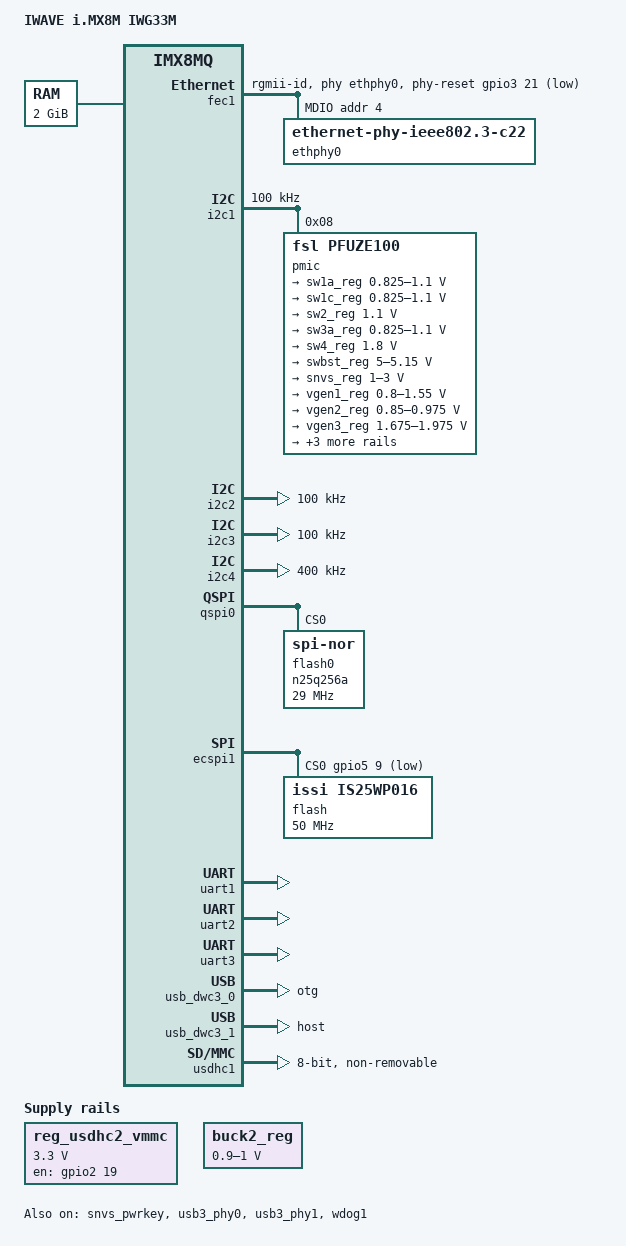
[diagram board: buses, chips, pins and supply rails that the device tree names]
// SPDX-License-Identifier: (GPL-2.0 OR MIT)
/*
 * Copyright 2017 NXP
 * Copyright (C) 2017-2018 Pengutronix, Lucas Stach <kernel@pengutronix.de>
 */

/dts-v1/;

#include "imx8mq.dtsi"

/ {
	model = "IWAVE i.MX8M IWG33M";
	compatible = "fsl,imx8mq-evk", "fsl,imx8mq";
	
	chosen {
		bootargs = "console=ttymxc0,115200 earlycon=ec_imx6q,0x30860000,115200";
		stdout-path = &uart1;
	};

	aliases {
		spi0 = &ecspi1;
	};

	firmware {
		optee {
			compatible = "linaro,optee-tz";
			method = "smc";
		};
	};

	memory@40000000 {
		device_type = "memory";
		reg = <0x00000000 0x40000000 0 0x80000000>;
	};

	reg_usdhc2_vmmc: regulator-vsd-3v3 {
		pinctrl-names = "default";
		pinctrl-0 = <&pinctrl_reg_usdhc2>;
		compatible = "regulator-fixed";
		regulator-name = "VSD_3V3";
		regulator-min-microvolt = <3300000>;
		regulator-max-microvolt = <3300000>;
		gpio = <&gpio2 19 GPIO_ACTIVE_HIGH>;
		off-on-delay-us = <20000>;
		enable-active-high;
	};

	buck2_reg: regulator-buck2 {
		pinctrl-names = "default";
		pinctrl-0 = <&pinctrl_buck2>;
		compatible = "regulator-gpio";
		regulator-name = "vdd_arm";
		regulator-min-microvolt = <900000>;
		regulator-max-microvolt = <1000000>;
		gpios = <&gpio1 13 GPIO_ACTIVE_HIGH>;
		states = <1000000 0x0
			  900000 0x1>;
	};
};

&iomuxc {
	pinctrl-names = "default";
	pinctrl-0 = <&pinctrl_hog>;

	pinctrl_hog: hoggrp {
		fsl,pins = <
			MX8MQ_IOMUXC_SD2_WP_GPIO2_IO20			0x19
			MX8MQ_IOMUXC_NAND_ALE_GPIO3_IO0			0x19
			MX8MQ_IOMUXC_NAND_CE0_B_GPIO3_IO1		0x19
			MX8MQ_IOMUXC_NAND_DATA00_GPIO3_IO6		0x19
			MX8MQ_IOMUXC_NAND_DATA01_GPIO3_IO7		0x19
			MX8MQ_IOMUXC_NAND_DATA02_GPIO3_IO8		0x41
			MX8MQ_IOMUXC_NAND_DATA03_GPIO3_IO9		0x19            
			MX8MQ_IOMUXC_NAND_READY_B_GPIO3_IO16		0x19
			MX8MQ_IOMUXC_NAND_WE_B_GPIO3_IO17		0x19
			MX8MQ_IOMUXC_NAND_WP_B_GPIO3_IO18		0x19
			MX8MQ_IOMUXC_GPIO1_IO00_GPIO1_IO0		0x19
			MX8MQ_IOMUXC_GPIO1_IO01_GPIO1_IO1		0x19
			MX8MQ_IOMUXC_GPIO1_IO11_GPIO1_IO11		0x19
			MX8MQ_IOMUXC_GPIO1_IO12_GPIO1_IO12		0x19
			/*MX8MQ_IOMUXC_SAI5_RXD2_GPIO3_IO23		0x41*/
			MX8MQ_IOMUXC_SAI5_RXD3_GPIO3_IO24		0x19	
		>;
	};

	pinctrl_buck2: vddarmgrp {
		fsl,pins = <
			MX8MQ_IOMUXC_GPIO1_IO13_GPIO1_IO13		0x19
		>;

	};

	pinctrl_fec1: fec1grp {
		fsl,pins = <
			MX8MQ_IOMUXC_ENET_MDC_ENET1_MDC			0x3
			MX8MQ_IOMUXC_ENET_MDIO_ENET1_MDIO		0x23
			MX8MQ_IOMUXC_ENET_TD3_ENET1_RGMII_TD3		0x1f
			MX8MQ_IOMUXC_ENET_TD2_ENET1_RGMII_TD2		0x1f
			MX8MQ_IOMUXC_ENET_TD1_ENET1_RGMII_TD1		0x1f
			MX8MQ_IOMUXC_ENET_TD0_ENET1_RGMII_TD0		0x1f
			MX8MQ_IOMUXC_ENET_RD3_ENET1_RGMII_RD3		0x91
			MX8MQ_IOMUXC_ENET_RD2_ENET1_RGMII_RD2		0x91
			MX8MQ_IOMUXC_ENET_RD1_ENET1_RGMII_RD1		0x91
			MX8MQ_IOMUXC_ENET_RD0_ENET1_RGMII_RD0		0x91
			MX8MQ_IOMUXC_ENET_TXC_ENET1_RGMII_TXC		0x1f
			MX8MQ_IOMUXC_ENET_RXC_ENET1_RGMII_RXC		0x91
			MX8MQ_IOMUXC_ENET_RX_CTL_ENET1_RGMII_RX_CTL	0x91
			MX8MQ_IOMUXC_ENET_TX_CTL_ENET1_RGMII_TX_CTL	0x1f
			MX8MQ_IOMUXC_SAI5_RXD0_GPIO3_IO21		0x19
			MX8MQ_IOMUXC_SAI5_RXD1_GPIO3_IO22		0x19
			MX8MQ_IOMUXC_SAI5_RXC_GPIO3_IO20		0x19
		>;
	};

	pinctrl_i2c1: i2c1grp {
		fsl,pins = <
			MX8MQ_IOMUXC_I2C1_SCL_I2C1_SCL			0x4000007f
			MX8MQ_IOMUXC_I2C1_SDA_I2C1_SDA			0x4000007f
		>;
	};

	pinctrl_i2c3: i2c3grp {
		fsl,pins = <
			MX8MQ_IOMUXC_I2C3_SCL_I2C3_SCL			0x4000007f
			MX8MQ_IOMUXC_I2C3_SDA_I2C3_SDA			0x4000007f
		>;
	};

	pinctrl_i2c2: i2c2grp {
		fsl,pins = <
			MX8MQ_IOMUXC_I2C2_SCL_I2C2_SCL			0x40000067
			MX8MQ_IOMUXC_I2C2_SDA_I2C2_SDA			0x40000067
		>;
	};

	pinctrl_i2c4: i2c4grp {
		fsl,pins = <
			MX8MQ_IOMUXC_I2C4_SCL_I2C4_SCL			0x4000007f
			MX8MQ_IOMUXC_I2C4_SDA_I2C4_SDA			0x4000007f
		>;
	};

	pinctrl_qspi: qspigrp {
		fsl,pins = <
			MX8MQ_IOMUXC_NAND_CLE_QSPI_B_SCLK		0x82
			MX8MQ_IOMUXC_NAND_CE2_B_QSPI_B_SS0_B		0x82
			MX8MQ_IOMUXC_NAND_CE3_B_QSPI_B_SS1_B		0x82
			MX8MQ_IOMUXC_NAND_RE_B_QSPI_B_DQS		0x82
			MX8MQ_IOMUXC_NAND_DATA04_QSPI_B_DATA0		0x82
			MX8MQ_IOMUXC_NAND_DATA05_QSPI_B_DATA1		0x82
			MX8MQ_IOMUXC_NAND_DATA06_QSPI_B_DATA2		0x82
			MX8MQ_IOMUXC_NAND_DATA07_QSPI_B_DATA3		0x82
		>;
	};

	pinctrl_ecspi1: ecspi1grp {
		fsl,pins = <
			MX8MQ_IOMUXC_ECSPI1_SCLK_ECSPI1_SCLK		0x82
			MX8MQ_IOMUXC_ECSPI1_MOSI_ECSPI1_MOSI		0x82
			MX8MQ_IOMUXC_ECSPI1_MISO_ECSPI1_MISO		0x82
			MX8MQ_IOMUXC_ECSPI1_SS0_GPIO5_IO9		0x82
		>;
	};

	pinctrl_reg_usdhc2: regusdhc2grpgpio {
		fsl,pins = <
			MX8MQ_IOMUXC_SD2_RESET_B_GPIO2_IO19		0x41
		>;
	};

	pinctrl_uart1: uart1grp {
		fsl,pins = <
			MX8MQ_IOMUXC_UART1_RXD_UART1_DCE_RX		0x49
			MX8MQ_IOMUXC_UART1_TXD_UART1_DCE_TX		0x49
		>;
	};

	pinctrl_uart2: uart2grp {
		fsl,pins = <
			MX8MQ_IOMUXC_UART2_RXD_UART2_DCE_RX		0x49
			MX8MQ_IOMUXC_UART2_TXD_UART2_DCE_TX		0x49
			MX8MQ_IOMUXC_UART4_RXD_UART2_DCE_CTS_B		0x49
			MX8MQ_IOMUXC_UART4_TXD_UART2_DCE_RTS_B		0x49
		>;
	};

	pinctrl_uart3: uart3grp {
		fsl,pins = <
			MX8MQ_IOMUXC_UART3_TXD_UART3_DCE_TX		0x49
			MX8MQ_IOMUXC_UART3_RXD_UART3_DCE_RX		0x49
		>;
	};

	pinctrl_bt_uart4: bt_uart4grp {
		fsl,pins = <
			MX8MQ_IOMUXC_ECSPI2_MOSI_UART4_DCE_TX		0x49
			MX8MQ_IOMUXC_ECSPI2_SCLK_UART4_DCE_RX		0x49
			MX8MQ_IOMUXC_ECSPI2_MISO_UART4_DCE_CTS_B	0x49
			MX8MQ_IOMUXC_ECSPI2_SS0_UART4_DCE_RTS_B		0x49
			
		>;
	};

	pinctrl_usdhc1: usdhc1grp {
		fsl,pins = <
			MX8MQ_IOMUXC_SD1_CLK_USDHC1_CLK			0x83
			MX8MQ_IOMUXC_SD1_CMD_USDHC1_CMD			0xc3
			MX8MQ_IOMUXC_SD1_DATA0_USDHC1_DATA0		0xc3
			MX8MQ_IOMUXC_SD1_DATA1_USDHC1_DATA1		0xc3
			MX8MQ_IOMUXC_SD1_DATA2_USDHC1_DATA2		0xc3
			MX8MQ_IOMUXC_SD1_DATA3_USDHC1_DATA3		0xc3
			MX8MQ_IOMUXC_SD1_DATA4_USDHC1_DATA4		0xc3
			MX8MQ_IOMUXC_SD1_DATA5_USDHC1_DATA5		0xc3
			MX8MQ_IOMUXC_SD1_DATA6_USDHC1_DATA6		0xc3
			MX8MQ_IOMUXC_SD1_DATA7_USDHC1_DATA7		0xc3
			MX8MQ_IOMUXC_SD1_STROBE_USDHC1_STROBE		0x83
			MX8MQ_IOMUXC_SD1_RESET_B_USDHC1_RESET_B		0xc1
		>;
	};

	pinctrl_usdhc1_100mhz: usdhc1-100grp {
		fsl,pins = <
			MX8MQ_IOMUXC_SD1_CLK_USDHC1_CLK			0x8d
			MX8MQ_IOMUXC_SD1_CMD_USDHC1_CMD			0xcd
			MX8MQ_IOMUXC_SD1_DATA0_USDHC1_DATA0		0xcd
			MX8MQ_IOMUXC_SD1_DATA1_USDHC1_DATA1		0xcd
			MX8MQ_IOMUXC_SD1_DATA2_USDHC1_DATA2		0xcd
			MX8MQ_IOMUXC_SD1_DATA3_USDHC1_DATA3		0xcd
			MX8MQ_IOMUXC_SD1_DATA4_USDHC1_DATA4		0xcd
			MX8MQ_IOMUXC_SD1_DATA5_USDHC1_DATA5		0xcd
			MX8MQ_IOMUXC_SD1_DATA6_USDHC1_DATA6		0xcd
			MX8MQ_IOMUXC_SD1_DATA7_USDHC1_DATA7		0xcd
			MX8MQ_IOMUXC_SD1_STROBE_USDHC1_STROBE		0x8d
			MX8MQ_IOMUXC_SD1_RESET_B_USDHC1_RESET_B		0xc1
		>;
	};

	pinctrl_usdhc1_200mhz: usdhc1-200grp {
		fsl,pins = <
			MX8MQ_IOMUXC_SD1_CLK_USDHC1_CLK			0x9f
			MX8MQ_IOMUXC_SD1_CMD_USDHC1_CMD			0xdf
			MX8MQ_IOMUXC_SD1_DATA0_USDHC1_DATA0		0xdf
			MX8MQ_IOMUXC_SD1_DATA1_USDHC1_DATA1		0xdf
			MX8MQ_IOMUXC_SD1_DATA2_USDHC1_DATA2		0xdf
			MX8MQ_IOMUXC_SD1_DATA3_USDHC1_DATA3		0xdf
			MX8MQ_IOMUXC_SD1_DATA4_USDHC1_DATA4		0xdf
			MX8MQ_IOMUXC_SD1_DATA5_USDHC1_DATA5		0xdf
			MX8MQ_IOMUXC_SD1_DATA6_USDHC1_DATA6		0xdf
			MX8MQ_IOMUXC_SD1_DATA7_USDHC1_DATA7		0xdf
			MX8MQ_IOMUXC_SD1_STROBE_USDHC1_STROBE		0x9f
			MX8MQ_IOMUXC_SD1_RESET_B_USDHC1_RESET_B		0xc1
		>;
	};

	pinctrl_usdhc2: usdhc2grp {
		fsl,pins = <
			MX8MQ_IOMUXC_SD2_CLK_USDHC2_CLK			0x83
			MX8MQ_IOMUXC_SD2_CMD_USDHC2_CMD			0xc3
			MX8MQ_IOMUXC_SD2_DATA0_USDHC2_DATA0		0xc3
			MX8MQ_IOMUXC_SD2_DATA1_USDHC2_DATA1		0xc3
			MX8MQ_IOMUXC_SD2_DATA2_USDHC2_DATA2		0xc3
			MX8MQ_IOMUXC_SD2_DATA3_USDHC2_DATA3		0xc3
			MX8MQ_IOMUXC_SD2_CD_B_GPIO2_IO12		0x41
			MX8MQ_IOMUXC_SAI1_RXD0_GPIO4_IO2		0xc1
		>;
	};

	pinctrl_usdhc2_100mhz: usdhc2-100grp {
		fsl,pins = <
			MX8MQ_IOMUXC_SD2_CLK_USDHC2_CLK			0x85
			MX8MQ_IOMUXC_SD2_CMD_USDHC2_CMD			0xc5
			MX8MQ_IOMUXC_SD2_DATA0_USDHC2_DATA0		0xc5
			MX8MQ_IOMUXC_SD2_DATA1_USDHC2_DATA1		0xc5
			MX8MQ_IOMUXC_SD2_DATA2_USDHC2_DATA2		0xc5
			MX8MQ_IOMUXC_SD2_DATA3_USDHC2_DATA3		0xc5
			MX8MQ_IOMUXC_SD2_CD_B_GPIO2_IO12		0x41
			MX8MQ_IOMUXC_SAI1_RXD0_GPIO4_IO2		0xc1
		>;
	};

	pinctrl_usdhc2_200mhz: usdhc2-200grp {
		fsl,pins = <
			MX8MQ_IOMUXC_SD2_CLK_USDHC2_CLK			0x87
			MX8MQ_IOMUXC_SD2_CMD_USDHC2_CMD			0xc7
			MX8MQ_IOMUXC_SD2_DATA0_USDHC2_DATA0		0xc7
			MX8MQ_IOMUXC_SD2_DATA1_USDHC2_DATA1		0xc7
			MX8MQ_IOMUXC_SD2_DATA2_USDHC2_DATA2		0xc7
			MX8MQ_IOMUXC_SD2_DATA3_USDHC2_DATA3		0xc7
			MX8MQ_IOMUXC_SD2_CD_B_GPIO2_IO12		0x41
			MX8MQ_IOMUXC_SAI1_RXD0_GPIO4_IO2		0xc1
		>;
	};

	pinctrl_wdog: wdog1grp {
		fsl,pins = <
			MX8MQ_IOMUXC_GPIO1_IO02_WDOG1_WDOG_B		0xc6
		>;
	};
};



&A53_0 {
	cpu-supply = <&buck2_reg>;
};

&A53_1 {
	cpu-supply = <&buck2_reg>;
};

&A53_2 {
	cpu-supply = <&buck2_reg>;
};

&A53_3 {
	cpu-supply = <&buck2_reg>;
};

&fec1 {
	pinctrl-names = "default";
	pinctrl-0 = <&pinctrl_fec1>;
	phy-mode = "rgmii-id";
	phy-handle = <&ethphy0>;
	phy-reset-gpios = <&gpio3 21 GPIO_ACTIVE_LOW>;
	phy-reset-duration = <10>;
	fsl,magic-packet;
	fsl,rgmii_txc_dly;
	fsl,rgmii_rxc_dly;
	fsl,ar8031-phy-fixup;
	status = "okay";

	mdio {
		#address-cells = <1>;
		#size-cells = <0>;

		ethphy0: ethernet-phy@4 {
			compatible = "ethernet-phy-ieee802.3-c22";
			reg = <4>;
			at803x,eee-disabled;
			at803x,vddio-1p8v;
		};
	};
};

&i2c1 {
	clock-frequency = <100000>;
	pinctrl-names = "default";
	pinctrl-0 = <&pinctrl_i2c1>;
	status = "okay";

	pmic@8 {
		compatible = "fsl,pfuze100";
		fsl,pfuze-support-disable-sw;
		reg = <0x8>;

		regulators {
			sw1a_reg: sw1ab {
				regulator-min-microvolt = <825000>;
				regulator-max-microvolt = <1100000>;
			};

			sw1c_reg: sw1c {
				regulator-min-microvolt = <825000>;
				regulator-max-microvolt = <1100000>;
			};

			sw2_reg: sw2 {
				regulator-min-microvolt = <1100000>;
				regulator-max-microvolt = <1100000>;
				regulator-always-on;
			};

			sw3a_reg: sw3ab {
				regulator-min-microvolt = <825000>;
				regulator-max-microvolt = <1100000>;
				regulator-always-on;
			};

			sw4_reg: sw4 {
				regulator-min-microvolt = <1800000>;
				regulator-max-microvolt = <1800000>;
				regulator-always-on;
			};

			swbst_reg: swbst {
				regulator-min-microvolt = <5000000>;
				regulator-max-microvolt = <5150000>;
			};

			snvs_reg: vsnvs {
				regulator-min-microvolt = <1000000>;
				regulator-max-microvolt = <3000000>;
				regulator-always-on;
			};

			vref_reg: vrefddr {
				regulator-always-on;
			};

			vgen1_reg: vgen1 {
				regulator-min-microvolt = <800000>;
				regulator-max-microvolt = <1550000>;
			};

			vgen2_reg: vgen2 {
				regulator-min-microvolt = <850000>;
				regulator-max-microvolt = <975000>;
				regulator-always-on;
			};

			vgen3_reg: vgen3 {
				regulator-min-microvolt = <1675000>;
				regulator-max-microvolt = <1975000>;
				regulator-always-on;
			};

			vgen4_reg: vgen4 {
				regulator-min-microvolt = <1625000>;
				regulator-max-microvolt = <1875000>;
				regulator-always-on;
			};

			vgen5_reg: vgen5 {
				regulator-min-microvolt = <3075000>;
				regulator-max-microvolt = <3625000>;
				regulator-always-on;
			};

			vgen6_reg: vgen6 {
				regulator-min-microvolt = <1800000>;
				regulator-max-microvolt = <3300000>;
			};
		};
	};
	
};

&i2c2 {
	clock-frequency = <100000>;
	pinctrl-names = "default";
	pinctrl-0 = <&pinctrl_i2c2>;
	status = "okay";
};

&i2c3 {
	clock-frequency = <100000>;
	pinctrl-names = "default";
	pinctrl-0 = <&pinctrl_i2c3>;
	status = "okay";
};

&i2c4 {
	clock-frequency = <400000>;
	pinctrl-names = "default";
	pinctrl-0 = <&pinctrl_i2c4>;
	status = "okay";

};

&snvs_pwrkey {
	status = "okay";
};

&qspi0 {
	pinctrl-names = "default";
	pinctrl-0 = <&pinctrl_qspi>;
	status = "okay";

	flash0: n25q256a@0 {
		reg = <0>;
		#address-cells = <1>;
		#size-cells = <1>;
		compatible = "jedec,spi-nor";
		spi-max-frequency = <29000000>;
		spi-tx-bus-width = <4>;
		spi-rx-bus-width = <4>;
		spi-nor,ddr-quad-read-dummy = <6>;
	};
};

&ecspi1 {
	#address-cells = <1>;
	#size-cells = <0>;
	num-cs = <1>;
	pinctrl-names = "default";
	pinctrl-0 = <&pinctrl_ecspi1>;
	cs-gpios = <&gpio5 9 GPIO_ACTIVE_LOW>;
	assigned-clocks = <&clk IMX8MQ_CLK_ECSPI1>;
	assigned-clock-parents = <&clk IMX8MQ_CLK_25M>;
	status = "okay";

	flash: is25wp016@0 {
		reg = <0>;
		#address-cells = <1>;
		#size-cells = <1>;
		compatible = "issi,is25wp016", "jedec,spi-nor";
		spi-max-frequency = <50000000>;
	};
};

&uart1 { /* Console */
	pinctrl-names = "default";
	pinctrl-0 = <&pinctrl_uart1>;
	assigned-clocks = <&clk IMX8MQ_CLK_UART1>;
	assigned-clock-parents = <&clk IMX8MQ_CLK_25M>;
	status = "okay";
};

&uart2 { /* Data UART */
	pinctrl-names = "default";
	pinctrl-0 = <&pinctrl_uart2>;
	assigned-clocks = <&clk IMX8MQ_CLK_UART2>;
	assigned-clock-parents = <&clk IMX8MQ_CLK_25M>;
	fsl,uart-has-rtscts;
	status = "okay";
};

&uart3 { /* Data UART */
	pinctrl-names = "default";
	pinctrl-0 = <&pinctrl_uart3>;
	assigned-clocks = <&clk IMX8MQ_CLK_UART3>;
	assigned-clock-parents = <&clk IMX8MQ_SYS1_PLL_80M>;
	status = "okay";
};

&uart4 { /* BT */
	pinctrl-names = "default";
	pinctrl-0 = <&pinctrl_bt_uart4>;
	assigned-clocks = <&clk IMX8MQ_CLK_UART4>;
	assigned-clock-parents = <&clk IMX8MQ_SYS1_PLL_80M>;
	fsl,uart-has-rtscts;
	status = "disabled";
};

&usb3_phy0 {
	status = "okay";
};

&usb_dwc3_0 {
	dr_mode = "otg";
	hnp-disable;
	srp-disable;
	adp-disable;
	usb-role-switch;
	snps,dis-u1-entry-quirk;
	snps,dis-u2-entry-quirk;
	status = "okay";
};

&usb3_phy1 {
	status = "okay";
};

&usb_dwc3_1 {
	dr_mode = "host";
	status = "okay";
};

&usdhc1 {
	pinctrl-names = "default", "state_100mhz", "state_200mhz";
	pinctrl-0 = <&pinctrl_usdhc1>;
	pinctrl-1 = <&pinctrl_usdhc1_100mhz>;
	pinctrl-2 = <&pinctrl_usdhc1_200mhz>;
	vqmmc-supply = <&sw4_reg>;
	bus-width = <8>;
	non-removable;
	no-sd;
	no-sdio;
	mmc-hs400-1_8v;
	status = "okay";
};

&usdhc2 {
	pinctrl-names = "default", "state_100mhz", "state_200mhz";
	pinctrl-0 = <&pinctrl_usdhc2>;
	pinctrl-1 = <&pinctrl_usdhc2_100mhz>;
	pinctrl-2 = <&pinctrl_usdhc2_200mhz>;
	bus-width = <4>;
	non-removable;
	//cd-gpios = <&gpio2 12 GPIO_ACTIVE_LOW>;
	vmmc-supply = <&reg_usdhc2_vmmc>;
	status = "disabled";
};

&wdog1 {
	pinctrl-names = "default";
	pinctrl-0 = <&pinctrl_wdog>;
	fsl,ext-reset-output;
	status = "okay";
};
